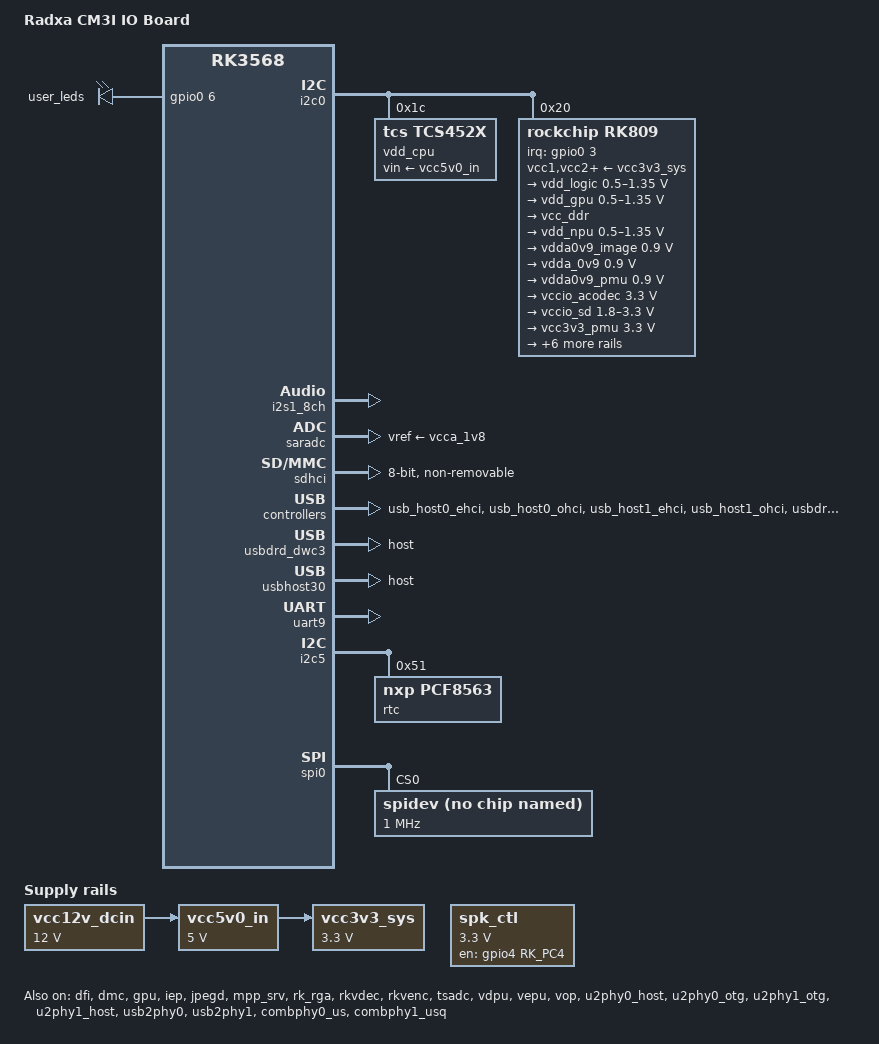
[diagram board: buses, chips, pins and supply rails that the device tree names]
// SPDX-License-Identifier: (GPL-2.0+ OR MIT)
/*
 * Copyright (c) 2025 Rockchip Electronics Co., Ltd.
 * Copyright (c) 2025 Radxa Computer (Shenzhen) Co., Ltd.
 *
 */

/dts-v1/;

#include <dt-bindings/gpio/gpio.h>
#include <dt-bindings/pwm/pwm.h>
#include <dt-bindings/pinctrl/rockchip.h>
#include <dt-bindings/input/rk-input.h>
#include <dt-bindings/display/drm_mipi_dsi.h>
#include <dt-bindings/sensor-dev.h>
#include "rk3568.dtsi"
#include "rk3568-linux.dtsi"
#include "mls3568j-SP570MBVE-04F1-jd9168s-rgb-display.dtsi"

/ {
    model = "Radxa CM3I IO Board";
	compatible = "radxa,cm3i-io", "radxa,cm3i", "rockchip,rk3568";

	rk809_sound: rk809-sound {
		status = "okay";
		compatible = "rockchip,multicodecs-card";
		rockchip,card-name = "rockchip-rk809";
		rockchip,format = "i2s";
		rockchip,mclk-fs = <256>;
		rockchip,cpu = <&i2s1_8ch>;
		rockchip,codec = <&rk809_codec>;
	};

    vcc12v_dcin: vcc12v-dcin {
		compatible = "regulator-fixed";
		regulator-name = "vcc12v_dcin";
		regulator-always-on;
		regulator-boot-on;
		regulator-min-microvolt = <12000000>;
		regulator-max-microvolt = <12000000>;
	};

    vcc5v0_in: vcc5v0-in {
		compatible = "regulator-fixed";
		regulator-name = "vcc5v0_in";
		regulator-always-on;
		regulator-boot-on;
		regulator-min-microvolt = <5000000>;
		regulator-max-microvolt = <5000000>;
		vin-supply = <&vcc12v_dcin>;
	};

	vcc3v3_sys: vcc3v3-sys {
		compatible = "regulator-fixed";
		regulator-name = "vcc3v3_sys";
		regulator-always-on;
		regulator-boot-on;
		regulator-min-microvolt = <3300000>;
		regulator-max-microvolt = <3300000>;
		vin-supply = <&vcc5v0_in>;
	};

	spk_ctl: spk-ctl {
		compatible = "regulator-fixed";
		enable-active-high;
		gpio = <&gpio4 RK_PC4 GPIO_ACTIVE_HIGH>;
		pinctrl-names = "default";
		pinctrl-0 = <&spk_ctl_pin>;
		regulator-name = "spk_ctl";
		regulator-always-on;
		regulator-boot-on;
		regulator-min-microvolt = <3300000>;
		regulator-max-microvolt = <3300000>;
	};

    gpio_leds: gpio-leds {
		compatible = "gpio-leds";
		status = "okay";
		user_leds: user-led {
			gpios = <&gpio0 6 GPIO_ACTIVE_HIGH>;	
			linux,default-trigger = "heartbeat";
			default-state = "on";
			pinctrl-0 = <&user_led>;
		};
	};
};

&pmu_io_domains {
	status = "okay";
	pmuio2-supply = <&vcc_3v3>;
	vccio1-supply = <&vccio_acodec>;
	vccio3-supply = <&vccio_sd>;
	vccio4-supply = <&vcc_1v8>;
	vccio5-supply = <&vcc_3v3>;
	vccio6-supply = <&vcc_1v8>;
	vccio7-supply = <&vcc_3v3>;
};

&cpu0 {
	cpu-supply = <&vdd_cpu>;
};

&dfi {
	status = "okay";
};

&dmc {
	center-supply = <&vdd_logic>;
	status = "okay";
};

&gpu {
	mali-supply = <&vdd_gpu>;
	status = "okay";
};

&i2c0 {
	status = "okay";

	vdd_cpu: tcs4525@1c {
		compatible = "tcs,tcs452x";
		reg = <0x1c>;
		vin-supply = <&vcc5v0_in>;
		regulator-compatible = "fan53555-reg";
		regulator-name = "vdd_cpu";
		regulator-min-microvolt = <712500>;
		regulator-max-microvolt = <1390000>;
		regulator-init-microvolt = <900000>;
		regulator-ramp-delay = <2300>;
		fcs,suspend-voltage-selector = <1>;
		regulator-boot-on;
		regulator-always-on;
		regulator-state-mem {
			regulator-off-in-suspend;
		};
	};

	rk809: pmic@20 {
		compatible = "rockchip,rk809";
		reg = <0x20>;
		interrupt-parent = <&gpio0>;
		interrupts = <3 IRQ_TYPE_LEVEL_LOW>;

		pinctrl-names = "default", "pmic-sleep",
				"pmic-power-off", "pmic-reset";
		pinctrl-0 = <&pmic_int>;
		pinctrl-1 = <&soc_slppin_slp>, <&rk817_slppin_slp>;
		pinctrl-2 = <&soc_slppin_gpio>, <&rk817_slppin_pwrdn>;
		pinctrl-3 = <&soc_slppin_gpio>, <&rk817_slppin_rst>;

		rockchip,system-power-controller;
		wakeup-source;
		#clock-cells = <1>;
		clock-output-names = "rk808-clkout1", "rk808-clkout2";
		//fb-inner-reg-idxs = <2>;
		/* 1: rst regs (default in codes), 0: rst the pmic */
		pmic-reset-func = <0>;
		/* not save the PMIC_POWER_EN register in uboot */
		not-save-power-en = <1>;

		vcc1-supply = <&vcc3v3_sys>;
		vcc2-supply = <&vcc3v3_sys>;
		vcc3-supply = <&vcc3v3_sys>;
		vcc4-supply = <&vcc3v3_sys>;
		vcc5-supply = <&vcc3v3_sys>;
		vcc6-supply = <&vcc3v3_sys>;
		vcc7-supply = <&vcc3v3_sys>;
		vcc8-supply = <&vcc3v3_sys>;
		vcc9-supply = <&vcc3v3_sys>;

		pwrkey {
			status = "okay";
		};

		rtc {
			status = "disabled";
		};

		pinctrl_rk8xx: pinctrl_rk8xx {
			gpio-controller;
			#gpio-cells = <2>;

			rk817_slppin_null: rk817_slppin_null {
				pins = "gpio_slp";
				function = "pin_fun0";
			};

			rk817_slppin_slp: rk817_slppin_slp {
				pins = "gpio_slp";
				function = "pin_fun1";
			};

			rk817_slppin_pwrdn: rk817_slppin_pwrdn {
				pins = "gpio_slp";
				function = "pin_fun2";
			};

			rk817_slppin_rst: rk817_slppin_rst {
				pins = "gpio_slp";
				function = "pin_fun3";
			};
		};

		regulators {
			vdd_logic: DCDC_REG1 {
				regulator-always-on;
				regulator-boot-on;
				regulator-min-microvolt = <500000>;
				regulator-max-microvolt = <1350000>;
				regulator-init-microvolt = <900000>;
				regulator-ramp-delay = <6001>;
				regulator-initial-mode = <0x2>;
				regulator-name = "vdd_logic";
				regulator-state-mem {
					regulator-off-in-suspend;
				};
			};

			vdd_gpu: DCDC_REG2 {
				regulator-always-on;
				regulator-boot-on;
				regulator-min-microvolt = <500000>;
				regulator-max-microvolt = <1350000>;
				regulator-init-microvolt = <900000>;
				regulator-ramp-delay = <6001>;
				regulator-initial-mode = <0x2>;
				regulator-name = "vdd_gpu";
				regulator-state-mem {
					regulator-off-in-suspend;
				};
			};

			vcc_ddr: DCDC_REG3 {
				regulator-always-on;
				regulator-boot-on;
				regulator-initial-mode = <0x2>;
				regulator-name = "vcc_ddr";
				regulator-state-mem {
					regulator-on-in-suspend;
				};
			};

			vdd_npu: DCDC_REG4 {
				regulator-always-on;
				regulator-boot-on;
				regulator-min-microvolt = <500000>;
				regulator-max-microvolt = <1350000>;
				regulator-init-microvolt = <900000>;
				regulator-ramp-delay = <6001>;
				regulator-initial-mode = <0x2>;
				regulator-name = "vdd_npu";
				regulator-state-mem {
					regulator-off-in-suspend;
				};
			};

			vdda0v9_image: LDO_REG1 {
				regulator-boot-on;
				regulator-always-on;
				regulator-min-microvolt = <900000>;
				regulator-max-microvolt = <900000>;
				regulator-name = "vdda0v9_image";
				regulator-state-mem {
					regulator-off-in-suspend;
				};
			};

			vdda_0v9: LDO_REG2 {
				regulator-always-on;
				regulator-boot-on;
				regulator-min-microvolt = <900000>;
				regulator-max-microvolt = <900000>;
				regulator-name = "vdda_0v9";
				regulator-state-mem {
					regulator-off-in-suspend;
				};
			};

			vdda0v9_pmu: LDO_REG3 {
				regulator-always-on;
				regulator-boot-on;
				regulator-min-microvolt = <900000>;
				regulator-max-microvolt = <900000>;
				regulator-name = "vdda0v9_pmu";
				regulator-state-mem {
					regulator-on-in-suspend;
					regulator-suspend-microvolt = <900000>;
				};
			};

			vccio_acodec: LDO_REG4 {
				regulator-always-on;
				regulator-boot-on;
				regulator-min-microvolt = <3300000>;
				regulator-max-microvolt = <3300000>;
				regulator-name = "vccio_acodec";
				regulator-state-mem {
					regulator-off-in-suspend;
				};
			};

			vccio_sd: LDO_REG5 {
				regulator-always-on;
				regulator-boot-on;
				regulator-min-microvolt = <1800000>;
				regulator-max-microvolt = <3300000>;
				regulator-name = "vccio_sd";
				regulator-state-mem {
					regulator-off-in-suspend;
				};
			};

			vcc3v3_pmu: LDO_REG6 {
				regulator-always-on;
				regulator-boot-on;
				regulator-min-microvolt = <3300000>;
				regulator-max-microvolt = <3300000>;
				regulator-name = "vcc3v3_pmu";
				regulator-state-mem {
					regulator-on-in-suspend;
					regulator-suspend-microvolt = <3300000>;
				};
			};

			vcca_1v8: LDO_REG7 {
				regulator-always-on;
				regulator-boot-on;
				regulator-min-microvolt = <1800000>;
				regulator-max-microvolt = <1800000>;
				regulator-name = "vcca_1v8";
				regulator-state-mem {
					regulator-off-in-suspend;
				};
			};

			vcca1v8_pmu: LDO_REG8 {
				regulator-always-on;
				regulator-boot-on;
				regulator-min-microvolt = <1800000>;
				regulator-max-microvolt = <1800000>;
				regulator-name = "vcca1v8_pmu";
				regulator-state-mem {
					regulator-on-in-suspend;
					regulator-suspend-microvolt = <1800000>;
				};
			};

			vcca1v8_image: LDO_REG9 {
				regulator-always-on;
				regulator-boot-on;
				regulator-min-microvolt = <1800000>;
				regulator-max-microvolt = <1800000>;
				regulator-name = "vcca1v8_image";
				regulator-state-mem {
					regulator-off-in-suspend;
				};
			};

			vcc_1v8: DCDC_REG5 {
				regulator-always-on;
				regulator-boot-on;
				regulator-min-microvolt = <1800000>;
				regulator-max-microvolt = <1800000>;
				regulator-name = "vcc_1v8";
				regulator-state-mem {
					regulator-off-in-suspend;
				};
			};

			vcc_3v3: SWITCH_REG1 {
				regulator-always-on;
				regulator-boot-on;
				regulator-name = "vcc_3v3";
				regulator-state-mem {
					regulator-off-in-suspend;
				};
			};

			vcc3v3_sd: SWITCH_REG2 {
				regulator-always-on;
				regulator-boot-on;
				regulator-name = "vcc3v3_sd";
				regulator-state-mem {
					regulator-off-in-suspend;
				};
			};
		};

		rk809_codec: codec {
			#sound-dai-cells = <0>;
			compatible = "rockchip,rk809-codec", "rockchip,rk817-codec";
			clocks = <&cru I2S1_MCLKOUT>;
			clock-names = "mclk";
			assigned-clocks = <&cru I2S1_MCLKOUT>, <&cru I2S1_MCLK_TX_IOE>;
			assigned-clock-rates = <12288000>;
			assigned-clock-parents = <&cru I2S1_MCLKOUT_TX>, <&cru I2S1_MCLKOUT_TX>;
			pinctrl-names = "default";
			pinctrl-0 = <&i2s1m0_mclk>;
			//spk-ctl-gpios = <&gpio4 RK_PC4 GPIO_ACTIVE_HIGH>;
			hp-volume = <20>;
			spk-volume = <3>;
			mic-in-differential;
			status = "okay";
		};
	};
};

&i2s1_8ch {
	status = "okay";
	rockchip,clk-trcm = <1>;
	rockchip,trcm-sync-tx-only;
	pinctrl-0 = <&i2s1m0_sclktx
			&i2s1m0_lrcktx
			&i2s1m0_sdi0
			&i2s1m0_sdo0>;
};

&iep {
	status = "okay";
};

&iep_mmu {
	status = "okay";
};

&jpegd {
	status = "okay";
};

&jpegd_mmu {
	status = "okay";
};

&mpp_srv {
	status = "okay";
};

&rk_rga {
	status = "okay";
};

&rkvdec {
	status = "okay";
};

&rkvdec_mmu {
	status = "okay";
};

&rkvenc {
	venc-supply = <&vdd_logic>;
	status = "okay";
};

&rkvenc_mmu {
	status = "okay";
};

&rknpu {
	rknpu-supply = <&vdd_npu>;
};

&saradc {
	status = "okay";
	vref-supply = <&vcca_1v8>;
};

&sdhci {
	bus-width = <8>;
	supports-emmc;
	non-removable;
	max-frequency = <200000000>;
	status = "okay";
};

&tsadc {
	status = "okay";
};

&vdpu {
	status = "okay";
};

&vdpu_mmu {
	status = "okay";
};

&vepu {
	status = "okay";
};

&vepu_mmu {
	status = "okay";
};

&vop {
	status = "okay";
};

&vop_mmu {
	status = "okay";
};

&rockchip_suspend {
	status = "okay";
	rockchip,sleep-debug-en = <1>;
	rockchip,sleep-mode-config = <
		(0
		| RKPM_SLP_CENTER_OFF
		| RKPM_SLP_HW_PLLS_OFF
		| RKPM_SLP_PMUALIVE_32K
		| RKPM_SLP_32K_PVTM
		)
	>;
	rockchip,wakeup-config = <
		(0
		| RKPM_GPIO_WKUP_EN
		| RKPM_USB_WKUP_EN
		)
	>;
};

&u2phy0_host {
	status = "okay";
};

&u2phy0_otg {
	status = "okay";
};

&u2phy1_otg {
	status = "okay";
};

&u2phy1_host {
	status = "okay";
};

&usb2phy0 {
	status = "okay";
};

&usb2phy1 {
	status = "okay";
};

&usb_host0_ehci {
	status = "okay";
};

&usb_host0_ohci {
	status = "okay";
};

&usb_host1_ehci {
	status = "okay";
};

&usb_host1_ohci {
	status = "okay";
};

&usbdrd_dwc3 {
	dr_mode = "host";
	status = "okay";
};

&usbdrd30 {
	status = "okay";
};

&usbhost_dwc3 {
	status = "okay";
};

&usbhost30 {
	dr_mode = "host";
	status = "okay";
};

&combphy0_us {
	status = "okay";
};

&combphy1_usq {
	status = "okay";
};

&uart9{
    status = "okay";
    pinctrl-names = "default";
	pinctrl-0 = <&uart9m1_xfer>;
};

&i2c5 {
	status = "okay";
	pinctrl-names = "default";
	pinctrl-0 = <&i2c5m1_xfer>;

	rtc: rtc@51 {
		compatible = "nxp,pcf8563";
		reg = <0x51>;
		#clock-cells = <0>;
	};
};

&spi0{
	status = "okay";
	#address-cells = <1>;
	#size-cells = <0>;
	pinctrl-names = "default", "high_speed";
	pinctrl-0 = <&spi0m0_cs0 &spi0m0_pins>;
	max-freq = <1000000>;

	spidev@0 {
		compatible = "rockchip,spidev";
		status = "okay";
		reg = <0>;
		spi-max-frequency = <1000000>;
	};
};

&pinctrl {
	pmic {
		pmic_int: pmic_int {
			rockchip,pins =
				<0 RK_PA3 RK_FUNC_GPIO &pcfg_pull_up>;
		};

		soc_slppin_gpio: soc_slppin_gpio {
			rockchip,pins =
				<0 RK_PA2 RK_FUNC_GPIO &pcfg_output_low_pull_down>;
		};

		soc_slppin_slp: soc_slppin_slp {
			rockchip,pins =
				<0 RK_PA2 1 &pcfg_pull_up>;
		};

		soc_slppin_rst: soc_slppin_rst {
			rockchip,pins =
				<0 RK_PA2 2 &pcfg_pull_none>;
		};
	};

	spk {
		spk_ctl_pin: spk-ctl-pin {
			rockchip,pins = <4 RK_PC4 RK_FUNC_GPIO &pcfg_pull_up>;
		};
	};

	leds {
		user_led: user-led {
			rockchip,pins = <0 RK_PA6 RK_FUNC_GPIO &pcfg_pull_none>;
		};
	};
};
